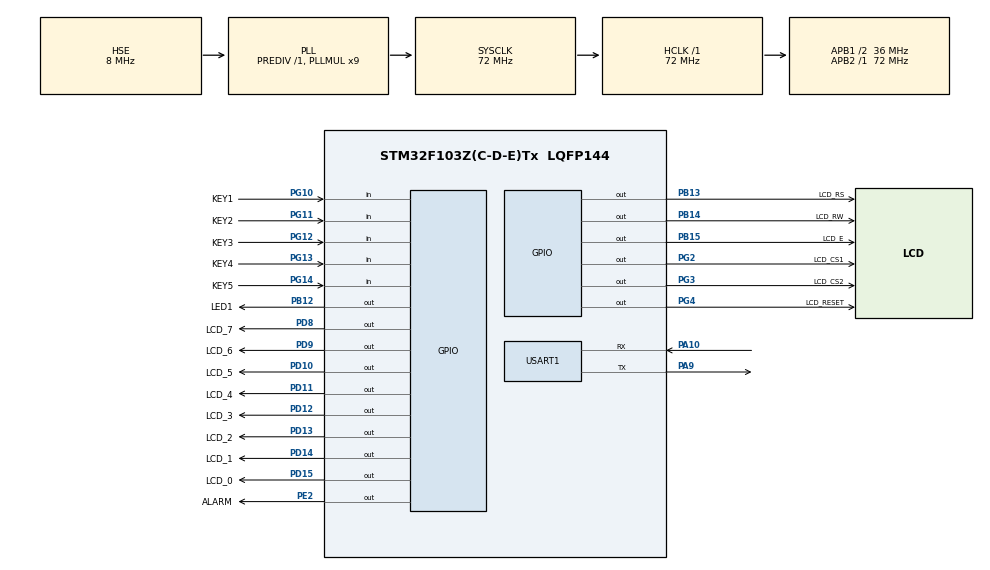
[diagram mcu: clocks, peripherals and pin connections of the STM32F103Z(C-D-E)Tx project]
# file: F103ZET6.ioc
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FREERTOS.Tasks01=defaultTask,0,128,StartDefaultTask,Default,NULL
FREERTOS.configCHECK_FOR_STACK_OVERFLOW=1
FREERTOS.configGENERATE_RUN_TIME_STATS=0
FREERTOS.configLIBRARY_MAX_SYSCALL_INTERRUPT_PRIORITY=1
FREERTOS.configMAX_PRIORITIES=16
FREERTOS.configTOTAL_HEAP_SIZE=10240
FREERTOS.configUSE_STATS_FORMATTING_FUNCTIONS=0
FREERTOS.configUSE_TRACE_FACILITY=0
IWDG.Prescaler=IWDG_PRESCALER_32
IWDG.Reload=4095
Mcu.Family=STM32F1
Mcu.Name=STM32F103Z(C-D-E)Tx
Mcu.Package=LQFP144
NVIC.PriorityGroup=NVIC_PRIORITYGROUP_4
NVIC.TIM7_IRQn=true\:0\:0\:false\:false\:true\:false
NVIC.TimeBase=TIM7_IRQn
NVIC.TimeBaseIP=TIM7
NVIC.USART1_IRQn=true\:3\:0\:true\:false\:true\:true
OSC_IN.Mode=HSE-External-Oscillator
OSC_IN.Signal=RCC_OSC_IN
OSC_OUT.Mode=HSE-External-Oscillator
OSC_OUT.Signal=RCC_OSC_OUT
PA10.Mode=Asynchronous
PA10.Signal=USART1_RX
PA13.Mode=Serial_Wire
PA13.Signal=SYS_JTMS-SWDIO
PA14.Mode=Serial_Wire
PA14.Signal=SYS_JTCK-SWCLK
PA9.Mode=Asynchronous
PA9.Signal=USART1_TX
PB12.GPIO_Label=LED1
PB12.Signal=GPIO_Output
PB13.GPIO_Label=LCD_RS
PB13.GPIO_Speed=GPIO_SPEED_FREQ_HIGH
PB13.Signal=GPIO_Output
PB14.GPIO_Label=LCD_RW
PB14.GPIO_Speed=GPIO_SPEED_FREQ_HIGH
PB14.Signal=GPIO_Output
PB15.GPIO_Label=LCD_E
PB15.GPIO_Speed=GPIO_SPEED_FREQ_HIGH
PB15.Signal=GPIO_Output
PD10.GPIO_Label=LCD_5
PD10.GPIO_ModeDefaultOutputPP=GPIO_MODE_OUTPUT_PP
PD10.GPIO_Speed=GPIO_SPEED_FREQ_HIGH
PD10.PinState=GPIO_PIN_RESET
PD10.Signal=GPIO_Output
PD11.GPIO_Label=LCD_4
PD11.GPIO_ModeDefaultOutputPP=GPIO_MODE_OUTPUT_PP
PD11.GPIO_Speed=GPIO_SPEED_FREQ_HIGH
PD11.PinState=GPIO_PIN_RESET
PD11.Signal=GPIO_Output
PD12.GPIO_Label=LCD_3
PD12.GPIO_ModeDefaultOutputPP=GPIO_MODE_OUTPUT_PP
PD12.GPIO_Speed=GPIO_SPEED_FREQ_HIGH
PD12.PinState=GPIO_PIN_RESET
PD12.Signal=GPIO_Output
PD13.GPIO_Label=LCD_2
PD13.GPIO_ModeDefaultOutputPP=GPIO_MODE_OUTPUT_PP
PD13.GPIO_Speed=GPIO_SPEED_FREQ_HIGH
PD13.PinState=GPIO_PIN_RESET
PD13.Signal=GPIO_Output
PD14.GPIO_Label=LCD_1
PD14.GPIO_ModeDefaultOutputPP=GPIO_MODE_OUTPUT_PP
PD14.GPIO_Speed=GPIO_SPEED_FREQ_HIGH
PD14.PinState=GPIO_PIN_RESET
PD14.Signal=GPIO_Output
PD15.GPIO_Label=LCD_0
PD15.GPIO_ModeDefaultOutputPP=GPIO_MODE_OUTPUT_PP
PD15.GPIO_Speed=GPIO_SPEED_FREQ_HIGH
PD15.PinState=GPIO_PIN_RESET
PD15.Signal=GPIO_Output
PD8.GPIO_Label=LCD_7
PD8.GPIO_ModeDefaultOutputPP=GPIO_MODE_OUTPUT_PP
PD8.GPIO_Speed=GPIO_SPEED_FREQ_HIGH
PD8.PinState=GPIO_PIN_RESET
PD8.Signal=GPIO_Output
PD9.GPIO_Label=LCD_6
PD9.GPIO_ModeDefaultOutputPP=GPIO_MODE_OUTPUT_PP
PD9.GPIO_Speed=GPIO_SPEED_FREQ_HIGH
PD9.PinState=GPIO_PIN_RESET
PD9.Signal=GPIO_Output
PE2.GPIO_Label=ALARM
PE2.GPIO_ModeDefaultOutputPP=GPIO_MODE_OUTPUT_OD
PE2.PinState=GPIO_PIN_RESET
PE2.Signal=GPIO_Output
PG10.GPIO_Label=KEY1
PG10.Signal=GPIO_Input
PG11.GPIO_Label=KEY2
PG11.Signal=GPIO_Input
PG12.GPIO_Label=KEY3
PG12.Signal=GPIO_Input
PG13.GPIO_Label=KEY4
PG13.Signal=GPIO_Input
PG14.GPIO_Label=KEY5
PG14.Signal=GPIO_Input
PG2.GPIO_Label=LCD_CS1
PG2.GPIO_Speed=GPIO_SPEED_FREQ_HIGH
PG2.Signal=GPIO_Output
PG3.GPIO_Label=LCD_CS2
PG3.GPIO_Speed=GPIO_SPEED_FREQ_HIGH
PG3.Signal=GPIO_Output
PG4.GPIO_Label=LCD_RESET
PG4.GPIO_Speed=GPIO_SPEED_FREQ_HIGH
PG4.Signal=GPIO_Output
ProjectManager.HeapSize=0x800
ProjectManager.StackSize=0x400
ProjectManager.TargetToolchain=MDK-ARM V5
RCC.ADCPresc=RCC_ADCPCLK2_DIV6
RCC.AHBFreq_Value=72000000
RCC.APB1CLKDivider=RCC_HCLK_DIV2
RCC.APB1Freq_Value=36000000
RCC.APB1TimFreq_Value=72000000
RCC.APB2Freq_Value=72000000
RCC.APB2TimFreq_Value=72000000
RCC.HCLKFreq_Value=72000000
RCC.PLLMUL=RCC_PLL_MUL9
RCC.PLLSourceVirtual=RCC_PLLSOURCE_HSE
RCC.SYSCLKFreq_VALUE=72000000
RCC.SYSCLKSource=RCC_SYSCLKSOURCE_PLLCLK
RCC.USBFreq_Value=72000000
USART1.VirtualMode=VM_ASYNC
VP_CRC_VS_CRC.Mode=CRC_Activate
VP_FREERTOS_VS_ENABLE.Mode=Enabled
VP_IWDG_VS_IWDG.Mode=IWDG_Activate
VP_SYS_VS_tim7.Mode=TIM7
board=F103ZET6

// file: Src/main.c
/**
  ******************************************************************************
  * File Name          : main.c
  * Description        : Main program body
  ******************************************************************************
  * This notice applies to any and all portions of this file
  * that are not between comment pairs USER CODE BEGIN and
  * USER CODE END. Other portions of this file, whether
  * inserted by the user or by software development tools
  * are owned by their respective copyright owners.
  *
  * Copyright (c) 2017 STMicroelectronics International N.V.
  * All rights reserved.
  *
  * Redistribution and use in source and binary forms, with or without
  * modification, are permitted, provided that the following conditions are met:
  *
  * 1. Redistribution of source code must retain the above copyright notice,
  *    this list of conditions and the following disclaimer.
  * 2. Redistributions in binary form must reproduce the above copyright notice,
  *    this list of conditions and the following disclaimer in the documentation
  *    and/or other materials provided with the distribution.
  * 3. Neither the name of STMicroelectronics nor the names of other
  *    contributors to this software may be used to endorse or promote products
  *    derived from this software without specific written permission.
  * 4. This software, including modifications and/or derivative works of this
  *    software, must execute solely and exclusively on microcontroller or
  *    microprocessor devices manufactured by or for STMicroelectronics.
  * 5. Redistribution and use of this software other than as permitted under
  *    this license is void and will automatically terminate your rights under
  *    this license.
  *
  * THIS SOFTWARE IS PROVIDED BY STMICROELECTRONICS AND CONTRIBUTORS "AS IS"
  * AND ANY EXPRESS, IMPLIED OR STATUTORY WARRANTIES, INCLUDING, BUT NOT
  * LIMITED TO, THE IMPLIED WARRANTIES OF MERCHANTABILITY, FITNESS FOR A
  * PARTICULAR PURPOSE AND NON-INFRINGEMENT OF THIRD PARTY INTELLECTUAL PROPERTY
  * RIGHTS ARE DISCLAIMED TO THE FULLEST EXTENT PERMITTED BY LAW. IN NO EVENT
  * SHALL STMICROELECTRONICS OR CONTRIBUTORS BE LIABLE FOR ANY DIRECT, INDIRECT,
  * INCIDENTAL, SPECIAL, EXEMPLARY, OR CONSEQUENTIAL DAMAGES (INCLUDING, BUT NOT
  * LIMITED TO, PROCUREMENT OF SUBSTITUTE GOODS OR SERVICES; LOSS OF USE, DATA,
  * OR PROFITS; OR BUSINESS INTERRUPTION) HOWEVER CAUSED AND ON ANY THEORY OF
  * LIABILITY, WHETHER IN CONTRACT, STRICT LIABILITY, OR TORT (INCLUDING
  * NEGLIGENCE OR OTHERWISE) ARISING IN ANY WAY OUT OF THE USE OF THIS SOFTWARE,
  * EVEN IF ADVISED OF THE POSSIBILITY OF SUCH DAMAGE.
  *
  ******************************************************************************
  */
#include "main.h"
#include "stm32f1xx_hal.h"
#include "cmsis_os.h"
#include "crc.h"
#include "iwdg.h"
#include "usart.h"
#include "gpio.h"

/* USER CODE BEGIN Includes */
#include "../Own/12864TXA.h"
#include "../Own/Rtos.h"
#include "GUI.h"
#include "GUIDEMO.h"

/* USER CODE END Includes */

/* USER CODE BEGIN PV */
/* Private variables ---------------------------------------------------------*/
 uint8_t Usart1_Buffer;
 uint8_t Key_Number;
 uint32_t temp=0,i=0;
/* USER CODE END PV */

void SystemClock_Config(void);
void MX_FREERTOS_Init(void);

/* USER CODE BEGIN PFP */
/* Private function prototypes -----------------------------------------------*/

/* USER CODE END PFP */

int main(void)
{

  /* MCU Configuration----------------------------------------------------------*/

  /* Reset of all peripherals, Initializes the Flash interface and the Systick. */
  HAL_Init();

  /* Configure the system clock */
  SystemClock_Config();

  /* Initialize all configured peripherals */
  MX_GPIO_Init();
  MX_USART1_UART_Init();
  MX_CRC_Init();
  MX_IWDG_Init();

  /* USER CODE BEGIN 2 */
    __HAL_RCC_CRC_CLK_ENABLE();
    HAL_UART_Receive_IT(&huart1,&Usart1_Buffer,1);
    mTaskCreate();
  /* USER CODE END 2 */

  /* Call init function for freertos objects (in freertos.c) */
  MX_FREERTOS_Init();

  /* Start scheduler */
  osKernelStart();

  /* We should never get here as control is now taken by the scheduler */

  /* Infinite loop */
  while (1)
  {

  }

}

/** System Clock Configuration
*/
void SystemClock_Config(void)
{

  RCC_OscInitTypeDef RCC_OscInitStruct;
  RCC_ClkInitTypeDef RCC_ClkInitStruct;

    /**Initializes the CPU, AHB and APB busses clocks
    */
  RCC_OscInitStruct.OscillatorType = RCC_OSCILLATORTYPE_LSI|RCC_OSCILLATORTYPE_HSE;
  RCC_OscInitStruct.HSEState = RCC_HSE_ON;
  RCC_OscInitStruct.HSEPredivValue = RCC_HSE_PREDIV_DIV1;
  RCC_OscInitStruct.HSIState = RCC_HSI_ON;
  RCC_OscInitStruct.LSIState = RCC_LSI_ON;
  RCC_OscInitStruct.PLL.PLLState = RCC_PLL_ON;
  RCC_OscInitStruct.PLL.PLLSource = RCC_PLLSOURCE_HSE;
  RCC_OscInitStruct.PLL.PLLMUL = RCC_PLL_MUL9;
  if (HAL_RCC_OscConfig(&RCC_OscInitStruct) != HAL_OK)
  {
    _Error_Handler(__FILE__, __LINE__);
  }

    /**Initializes the CPU, AHB and APB busses clocks
    */
  RCC_ClkInitStruct.ClockType = RCC_CLOCKTYPE_HCLK|RCC_CLOCKTYPE_SYSCLK
                              |RCC_CLOCKTYPE_PCLK1|RCC_CLOCKTYPE_PCLK2;
  RCC_ClkInitStruct.SYSCLKSource = RCC_SYSCLKSOURCE_PLLCLK;
  RCC_ClkInitStruct.AHBCLKDivider = RCC_SYSCLK_DIV1;
  RCC_ClkInitStruct.APB1CLKDivider = RCC_HCLK_DIV2;
  RCC_ClkInitStruct.APB2CLKDivider = RCC_HCLK_DIV1;

  if (HAL_RCC_ClockConfig(&RCC_ClkInitStruct, FLASH_LATENCY_2) != HAL_OK)
  {
    _Error_Handler(__FILE__, __LINE__);
  }

    /**Configure the Systick interrupt time
    */
  HAL_SYSTICK_Config(HAL_RCC_GetHCLKFreq()/1000);

    /**Configure the Systick
    */
  HAL_SYSTICK_CLKSourceConfig(SYSTICK_CLKSOURCE_HCLK);

  /* SysTick_IRQn interrupt configuration */
  HAL_NVIC_SetPriority(SysTick_IRQn, 15, 0);
}

/* USER CODE BEGIN 4 */
void HAL_UART_RxCpltCallback(UART_HandleTypeDef *UartHandle)
{
  HAL_UART_Transmit(&huart1,&Usart1_Buffer,1,0);
  HAL_UART_Receive_IT(&huart1,&Usart1_Buffer,1);
}

#ifdef __cplusplus
 extern "C" {
#endif
 int fputc(int ch, FILE *f)
{
          HAL_UART_Transmit(&huart1, (uint8_t *)&ch, 1, 0xffff);
          return ch;
 }

 int fgetc(FILE * f)
{
          uint8_t ch = 0;
          HAL_UART_Receive(&huart1,&ch, 1, 0xffff);
					return ch;
 }
#ifdef __cplusplus
}
#endif
/* USER CODE END 4 */

void HAL_TIM_PeriodElapsedCallback(TIM_HandleTypeDef *htim)
{
/* USER CODE BEGIN Callback 0 */
  if(htim->Instance==TIM1)
    {

    }
  if (htim->Instance == TIM6)
      {
        HAL_IWDG_Refresh(&hiwdg);

  }
/* USER CODE END Callback 0 */
  if (htim->Instance == TIM7) {
    HAL_IncTick();
  }
}

void _Error_Handler(char * file, int line)
{
  while(1)
  {
  }
}

/************************ (C) COPYRIGHT STMicroelectronics *****END OF FILE****/

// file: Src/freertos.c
/**
  ******************************************************************************
  * File Name          : freertos.c
  * Description        : Code for freertos applications
  ******************************************************************************
  * This notice applies to any and all portions of this file
  * that are not between comment pairs USER CODE BEGIN and
  * USER CODE END. Other portions of this file, whether
  * inserted by the user or by software development tools
  * are owned by their respective copyright owners.
  *
  * Copyright (c) 2017 STMicroelectronics International N.V.
  * All rights reserved.
  *
  * Redistribution and use in source and binary forms, with or without
  * modification, are permitted, provided that the following conditions are met:
  *
  * 1. Redistribution of source code must retain the above copyright notice,
  *    this list of conditions and the following disclaimer.
  * 2. Redistributions in binary form must reproduce the above copyright notice,
  *    this list of conditions and the following disclaimer in the documentation
  *    and/or other materials provided with the distribution.
  * 3. Neither the name of STMicroelectronics nor the names of other
  *    contributors to this software may be used to endorse or promote products
  *    derived from this software without specific written permission.
  * 4. This software, including modifications and/or derivative works of this
  *    software, must execute solely and exclusively on microcontroller or
  *    microprocessor devices manufactured by or for STMicroelectronics.
  * 5. Redistribution and use of this software other than as permitted under
  *    this license is void and will automatically terminate your rights under
  *    this license.
  *
  * THIS SOFTWARE IS PROVIDED BY STMICROELECTRONICS AND CONTRIBUTORS "AS IS"
  * AND ANY EXPRESS, IMPLIED OR STATUTORY WARRANTIES, INCLUDING, BUT NOT
  * LIMITED TO, THE IMPLIED WARRANTIES OF MERCHANTABILITY, FITNESS FOR A
  * PARTICULAR PURPOSE AND NON-INFRINGEMENT OF THIRD PARTY INTELLECTUAL PROPERTY
  * RIGHTS ARE DISCLAIMED TO THE FULLEST EXTENT PERMITTED BY LAW. IN NO EVENT
  * SHALL STMICROELECTRONICS OR CONTRIBUTORS BE LIABLE FOR ANY DIRECT, INDIRECT,
  * INCIDENTAL, SPECIAL, EXEMPLARY, OR CONSEQUENTIAL DAMAGES (INCLUDING, BUT NOT
  * LIMITED TO, PROCUREMENT OF SUBSTITUTE GOODS OR SERVICES; LOSS OF USE, DATA,
  * OR PROFITS; OR BUSINESS INTERRUPTION) HOWEVER CAUSED AND ON ANY THEORY OF
  * LIABILITY, WHETHER IN CONTRACT, STRICT LIABILITY, OR TORT (INCLUDING
  * NEGLIGENCE OR OTHERWISE) ARISING IN ANY WAY OUT OF THE USE OF THIS SOFTWARE,
  * EVEN IF ADVISED OF THE POSSIBILITY OF SUCH DAMAGE.
  *
  ******************************************************************************
  */

#include "FreeRTOS.h"
#include "task.h"
#include "cmsis_os.h"

osThreadId defaultTaskHandle;

void StartDefaultTask(void const * argument);

void MX_FREERTOS_Init(void); /* (MISRA C 2004 rule 8.1) */

/* Hook prototypes */
void vApplicationStackOverflowHook(xTaskHandle xTask, signed char *pcTaskName);

/* USER CODE BEGIN 4 */
__weak void vApplicationStackOverflowHook(xTaskHandle xTask, signed char *pcTaskName)
{
   /* Run time stack overflow checking is performed if
   configCHECK_FOR_STACK_OVERFLOW is defined to 1 or 2. This hook function is
   called if a stack overflow is detected. */
}
/* USER CODE END 4 */

/* Init FreeRTOS */

void MX_FREERTOS_Init(void) {

  /* Create the thread(s) */
  /* definition and creation of defaultTask */
  osThreadDef(defaultTask, StartDefaultTask, osPriorityNormal, 0, 128);
  defaultTaskHandle = osThreadCreate(osThread(defaultTask), NULL);

}

/* StartDefaultTask function */
void StartDefaultTask(void const * argument)
{

  for(;;)
  {
    osDelay(1);
  }
}

/************************ (C) COPYRIGHT STMicroelectronics *****END OF FILE****/
